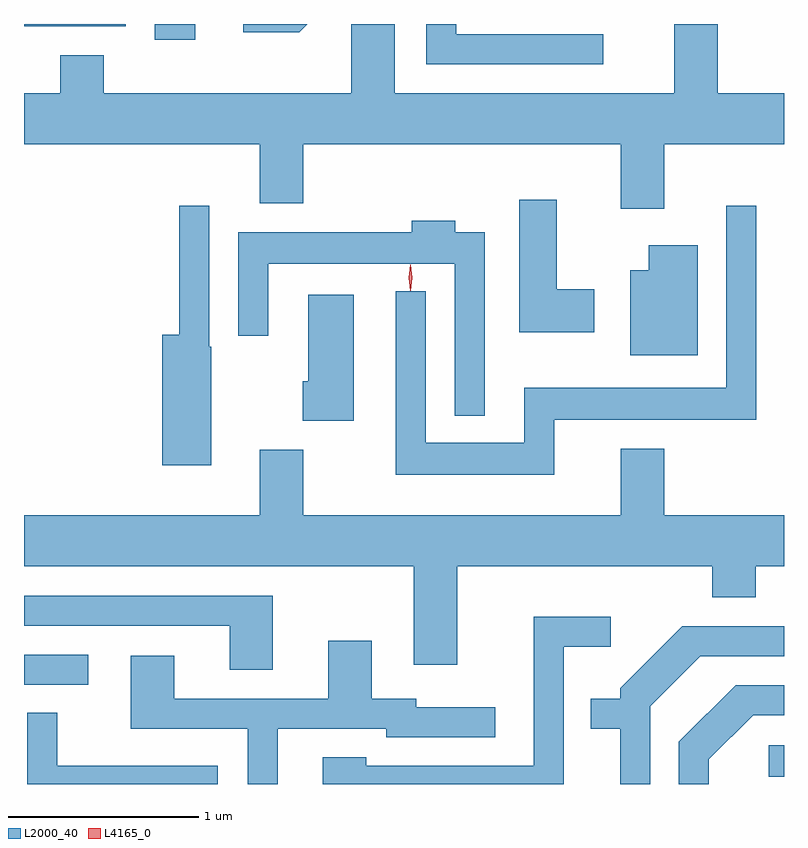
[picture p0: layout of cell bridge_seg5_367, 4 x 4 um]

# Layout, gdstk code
import gdstk
lib = gdstk.Library(unit=1e-6, precision=1e-09)
def R(c, l, rs):  # rectangles x0, y0, x1, y1
    for r in rs: c.add(gdstk.rectangle(r[:2], r[2:], *l))
def P(c, l, *ps):  # polygons
    for p in ps: c.add(gdstk.Polygon(p, *l))
L2000_40 = (2000, 40)
L4165_0 = (4165, 0)

bridge_seg5_367 = lib.new_cell('bridge_seg5_367')
R(bridge_seg5_367, L2000_40, [(484.118,1486.766,484.199,1486.934), (480.199,1487.251,480.538,1487.409), (480.886,1490.646,481.099,1490.729), (480.199,1490.716,480.734,1490.729)])
P(bridge_seg5_367, L2000_40, [(481.69,1490.729),(481.353,1490.729),(481.353,1490.686),(481.647,1490.686)],
  [(483.569,1490.096),(484.199,1490.096),(484.199,1490.364),(483.849,1490.364),(483.849,1490.729),(483.621,1490.729),(483.621,1490.364),(482.149,1490.364),(482.149,1490.729),(481.921,1490.729),(481.921,1490.364),(480.619,1490.364),(480.619,1490.564),(480.391,1490.564),(480.391,1490.364),(480.199,1490.364),(480.199,1490.096),(481.441,1490.096),(481.441,1489.786),(481.669,1489.786),(481.669,1490.096),(483.341,1490.096),(483.341,1489.756),(483.569,1489.756)],
  [(483.248,1490.674),(482.474,1490.674),(482.474,1490.729),(482.316,1490.729),(482.316,1490.516),(483.248,1490.516)],
  [(483.199,1489.334),(483.004,1489.334),(483.004,1489.804),(482.806,1489.804),(482.806,1489.106),(483.199,1489.106)],
  [(481.184,1489.03),(481.174,1489.03),(481.174,1489.773),(481.016,1489.773),(481.016,1489.094),(480.926,1489.094),(480.926,1488.406),(481.184,1488.406)],
  [(482.989,1488.646),(484.054,1488.646),(484.054,1489.773),(483.896,1489.773),(483.896,1488.814),(482.831,1488.814),(482.831,1488.524),(482.314,1488.524),(482.314,1489.323),(482.156,1489.323),(482.156,1488.356),(482.989,1488.356)],
  [(482.624,1489.634),(482.469,1489.634),(482.469,1489.694),(482.241,1489.694),(482.241,1489.634),(481.326,1489.634),(481.326,1489.088),(481.484,1489.088),(481.484,1489.466),(482.466,1489.466),(482.466,1488.668),(482.624,1488.668)],
  [(483.744,1489.564),(483.486,1489.564),(483.486,1489.434),(483.391,1489.434),(483.391,1488.986),(483.744,1488.986)],
  [(481.934,1489.304),(481.696,1489.304),(481.696,1488.849),(481.666,1488.849),(481.666,1488.641),(481.934,1488.641)],
  [(482.479,1487.876),(483.821,1487.876),(483.821,1487.711),(484.049,1487.711),(484.049,1487.876),(484.199,1487.876),(484.199,1488.144),(483.569,1488.144),(483.569,1488.494),(483.341,1488.494),(483.341,1488.144),(481.669,1488.144),(481.669,1488.489),(481.441,1488.489),(481.441,1488.144),(480.199,1488.144),(480.199,1487.876),(482.251,1487.876),(482.251,1487.356),(482.479,1487.356)],
  [(481.509,1487.719),(480.199,1487.719),(480.199,1487.561),(481.281,1487.561),(481.281,1487.331),(481.509,1487.331)],
  [(483.039,1487.451),(483.288,1487.451),(483.288,1487.609),(482.881,1487.609),(482.881,1486.824),(481.999,1486.824),(481.999,1486.869),(481.771,1486.869),(481.771,1486.729),(483.039,1486.729)],
  [(483.494,1487.139),(483.757,1487.401),(484.199,1487.401),(484.199,1487.559),(483.664,1487.559),(483.336,1487.232),(483.336,1487.179),(483.183,1487.179),(483.183,1487.021),(483.336,1487.021),(483.336,1486.729),(483.494,1486.729)],
  [(481.534,1487.021),(482.106,1487.021),(482.106,1486.976),(482.678,1486.976),(482.678,1487.134),(482.264,1487.134),(482.264,1487.179),(482.029,1487.179),(482.029,1487.484),(481.801,1487.484),(481.801,1487.179),(480.989,1487.179),(480.989,1487.404),(480.761,1487.404),(480.761,1487.021),(481.376,1487.021),(481.376,1486.729),(481.534,1486.729)],
  [(483.804,1486.859),(484.037,1487.091),(484.199,1487.091),(484.199,1487.249),(483.944,1487.249),(483.646,1486.952),(483.646,1486.729),(483.804,1486.729)],
  [(481.218,1486.824),(480.374,1486.824),(480.374,1487.103),(480.216,1487.103),(480.216,1486.729),(481.218,1486.729)])
P(bridge_seg5_367, L4165_0, [(482.233,1489.324),(482.233,1489.324),(482.223,1489.394),(482.233,1489.462),(482.233,1489.463),(482.234,1489.462),(482.243,1489.394),(482.234,1489.324)],
  [(482.233,1489.327),(482.233,1489.328),(482.223,1489.394),(482.233,1489.46),(482.233,1489.46),(482.234,1489.46),(482.243,1489.394),(482.234,1489.328)])

lib.write_gds('bridge_seg5_367.gds')
